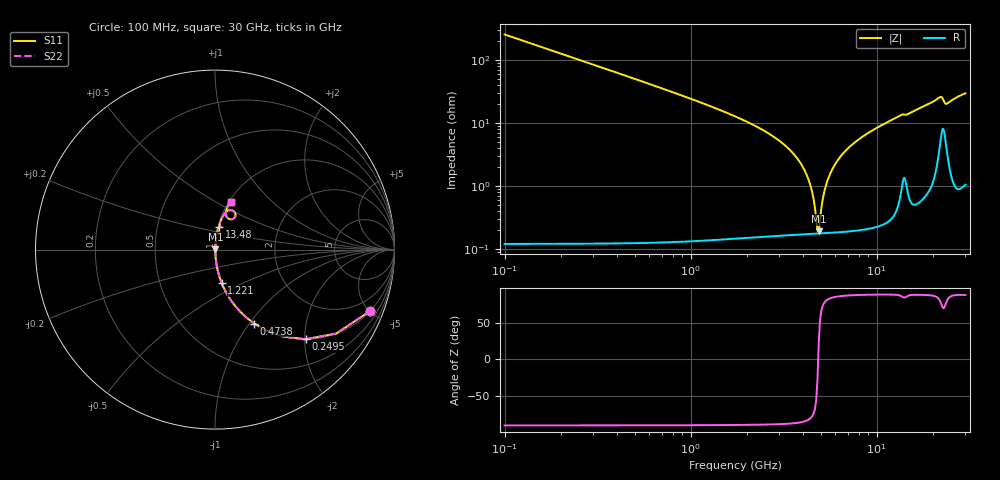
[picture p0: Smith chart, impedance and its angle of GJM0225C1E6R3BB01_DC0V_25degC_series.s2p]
!Murata Part Number: GJM0225C1E6R3BB01
!These Parameters are Measured in Series Mode Connection
!  o--ll--o
!Port1  Port2
!  o------o
!Operation Temp=25[degC], DC Bias Voltage=0[V]
!Freq. Start=100[MHz] Stop=30[GHz], 401[Steps]
!Data Generated on Feb 1, 2023
# Hz S RI R 50
!Freq.(Hz) S11(Real) S11(Imag) S21(Real) S21(Imag) S12(Real) S12(Imag) S22(Real) S22(Imag)
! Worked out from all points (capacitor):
!   401 points, 100 MHz to 30 GHz, reference 50 ohm
!   read as one part in series: C = 6.3 pF near 249.5 MHz
!   lowest |Z| = 190 mohm at 4.884 GHz (marker M1)
!   series resonance near 4.85 GHz, so ESL is about 170 pH
!   S11 on the Smith chart (normalised r, x): 100 MHz: 1.00, -5.05; 249.5 MHz: 1.00, -2.02; 473.8 MHz: 1.00, -1.06; 1.221 GHz: 1.00, -0.39; 13.48 GHz: 1.01, +0.26; 30 GHz: 1.02, +0.59
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1e8  0.8643 -0.3422  0.1357 0.3422  0.1357 0.3422  0.8643 -0.3422
2.495e8  0.5049 -0.4994  0.4951 0.4994  0.4951 0.4994  0.5049 -0.4994
4.7375e8  0.2186 -0.4121  0.7814 0.4121  0.7814 0.4121  0.2186 -0.4121
7.7275e8  0.093 -0.2885  0.907 0.2885  0.907 0.2885  0.093 -0.2885
1.22125e9  0.0373 -0.1861  0.9627 0.1861  0.9627 0.1861  0.0373 -0.1861
3.8375e9  0.00229 -0.0245  0.9977 0.0245  0.9977 0.0245  0.00229 -0.0245
4.36075e9  0.00184 -0.011  0.9982 0.011  0.9982 0.011  0.00184 -0.011
4.7345e9  0.00175 -0.0025  0.9983 0.0025  0.9983 0.0025  0.00175 -0.0025
4.884e9  0.00175 0.000723  0.9982 -0.000723  0.9982 -0.000723  0.00175 0.000723
5.10825e9  0.00179 0.00538  0.9982 -0.00538  0.9982 -0.00538  0.00179 0.00538
5.3325e9  0.00188 0.00986  0.9981 -0.00986  0.9981 -0.00986  0.00188 0.00986
5.55675e9  0.00199 0.0142  0.998 -0.0142  0.998 -0.0142  0.00199 0.0142
6.45375e9  0.00275 0.0301  0.9972 -0.0301  0.9972 -0.0301  0.00275 0.0301
7.874e9  0.00471 0.0523  0.9953 -0.0523  0.9953 -0.0523  0.00471 0.0523
1.01165e10  0.00932 0.0837  0.9907 -0.0837  0.9907 -0.0837  0.00932 0.0837
1.348025e10  0.0242 0.1281  0.9758 -0.1281  0.9758 -0.1281  0.0242 0.1281
1.505e10  0.0256 0.1381  0.9744 -0.1381  0.9744 -0.1381  0.0256 0.1381
2.005825e10  0.0544 0.202  0.9456 -0.202  0.9456 -0.202  0.0544 0.202
2.2525e10  0.1142 0.1958  0.8858 -0.1958  0.8858 -0.1958  0.1142 0.1958
2.349675e10  0.0791 0.1707  0.9209 -0.1707  0.9209 -0.1707  0.0791 0.1707
2.50665e10  0.0602 0.2063  0.9398 -0.2063  0.9398 -0.2063  0.0602 0.2063
3e10  0.0876 0.2655  0.9124 -0.2655  0.9124 -0.2655  0.0876 0.2655
